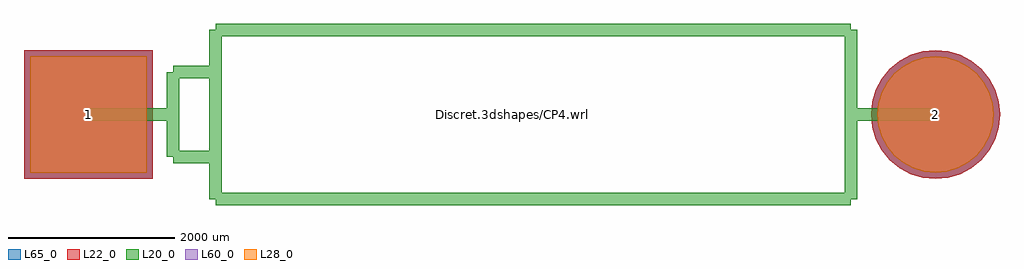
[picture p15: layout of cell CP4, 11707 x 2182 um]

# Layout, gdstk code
import gdstk
lib = gdstk.Library(unit=1e-6, precision=1e-09)
def R(c, l, rs):  # rectangles x0, y0, x1, y1
    for r in rs: c.add(gdstk.rectangle(r[:2], r[2:], *l))
def P(c, l, *ps):  # polygons
    for p in ps: c.add(gdstk.Polygon(p, *l))
L20_0 = (20, 0)
L22_0 = (22, 0)
L28_0 = (28, 0)
L60_0 = (60, 0)
L65_0 = (65, 0)

cp4 = lib.new_cell('CP4')
R(cp4, L22_0, [(-5853.5,-773.5,-4306.5,773.5)])
P(cp4, L22_0, [(5853.5,0),(5838.637,150.902),(5794.621,296.006),(5723.142,429.734),(5626.947,546.947),(5509.734,643.142),(5376.006,714.621),(5230.902,758.637),(5080,773.5),(4929.098,758.637),(4783.994,714.621),(4650.266,643.142),(4533.053,546.947),(4436.858,429.734),(4365.379,296.006),(4321.363,150.902),(4306.5,0),(4321.363,-150.902),(4365.379,-296.006),(4436.858,-429.734),(4533.053,-546.947),(4650.266,-643.142),(4783.994,-714.621),(4929.098,-758.637),(5080,-773.5),(5230.902,-758.637),(5376.006,-714.621),(5509.734,-643.142),(5626.947,-546.947),(5723.142,-429.734),(5794.621,-296.006),(5838.637,-150.902)])
R(cp4, L28_0, [(-5778.5,-698.5,-4381.5,698.5)])
P(cp4, L28_0, [(5778.5,0),(5765.079,136.271),(5725.33,267.304),(5660.782,388.066),(5573.914,493.914),(5468.066,580.782),(5347.304,645.33),(5216.271,685.079),(5080,698.5),(4943.729,685.079),(4812.696,645.33),(4691.934,580.782),(4586.086,493.914),(4499.218,388.066),(4434.67,267.304),(4394.921,136.271),(4381.5,0),(4394.921,-136.271),(4434.67,-267.304),(4499.218,-388.066),(4586.086,-493.914),(4691.934,-580.782),(4812.696,-645.33),(4943.729,-685.079),(5080,-698.5),(5216.271,-685.079),(5347.304,-645.33),(5468.066,-580.782),(5573.914,-493.914),(5660.782,-388.066),(5725.33,-267.304),(5765.079,-136.271)])
R(cp4, L60_0, [(-5778.5,-698.5,-4381.5,698.5)])
P(cp4, L60_0, [(5778.5,0),(5765.079,136.271),(5725.33,267.304),(5660.782,388.066),(5573.914,493.914),(5468.066,580.782),(5347.304,645.33),(5216.271,685.079),(5080,698.5),(4943.729,685.079),(4812.696,645.33),(4691.934,580.782),(4586.086,493.914),(4499.218,388.066),(4434.67,267.304),(4394.921,136.271),(4381.5,0),(4394.921,-136.271),(4434.67,-267.304),(4499.218,-388.066),(4586.086,-493.914),(4691.934,-580.782),(4812.696,-645.33),(4943.729,-685.079),(5080,-698.5),(5216.271,-685.079),(5347.304,-645.33),(5468.066,-580.782),(5573.914,-493.914),(5660.782,-388.066),(5725.33,-267.304),(5765.079,-136.271)])
R(cp4, L65_0, [(-5853.5,-773.5,-4306.5,773.5)])
P(cp4, L65_0, [(5853.5,0),(5838.637,150.902),(5794.621,296.006),(5723.142,429.734),(5626.947,546.947),(5509.734,643.142),(5376.006,714.621),(5230.902,758.637),(5080,773.5),(4929.098,758.637),(4783.994,714.621),(4650.266,643.142),(4533.053,546.947),(4436.858,429.734),(4365.379,296.006),(4321.363,150.902),(4306.5,0),(4321.363,-150.902),(4365.379,-296.006),(4436.858,-429.734),(4533.053,-546.947),(4650.266,-643.142),(4783.994,-714.621),(4929.098,-758.637),(5080,-773.5),(5230.902,-758.637),(5376.006,-714.621),(5509.734,-643.142),(5626.947,-546.947),(5723.142,-429.734),(5794.621,-296.006),(5838.637,-150.902)])
cp4.add(gdstk.FlexPath([(-4064,508),(-3556,508)], 149.998, ends="flush", simple_path=True, layer=20, datatype=0))  # L20_0
cp4.add(gdstk.FlexPath([(-4064,-508),(-4064,508)], 149.998, ends="flush", simple_path=True, layer=20, datatype=0))  # L20_0
cp4.add(gdstk.FlexPath([(-3556,-508),(-4064,-508)], 149.998, ends="flush", simple_path=True, layer=20, datatype=0))  # L20_0
cp4.add(gdstk.FlexPath([(-5080,0),(-4064,0)], 149.998, ends="flush", simple_path=True, layer=20, datatype=0))  # L20_0
cp4.add(gdstk.FlexPath([(4064,1016),(4064,0)], 149.998, ends="flush", simple_path=True, layer=20, datatype=0))  # L20_0
cp4.add(gdstk.FlexPath([(-3556,1016),(4064,1016)], 149.998, ends="flush", simple_path=True, layer=20, datatype=0))  # L20_0
cp4.add(gdstk.FlexPath([(-3556,-1016),(-3556,1016)], 149.998, ends="flush", simple_path=True, layer=20, datatype=0))  # L20_0
cp4.add(gdstk.FlexPath([(4064,-1016),(-3556,-1016)], 149.998, ends="flush", simple_path=True, layer=20, datatype=0))  # L20_0
cp4.add(gdstk.FlexPath([(4064,0),(4064,-1016)], 149.998, ends="flush", simple_path=True, layer=20, datatype=0))  # L20_0
cp4.add(gdstk.FlexPath([(5080,0),(4064,0)], 149.998, ends="flush", simple_path=True, layer=20, datatype=0))  # L20_0
cp4.add(gdstk.Label('Discret.3dshapes/CP4.wrl', (0,0), layer=12, texttype=0))
cp4.add(gdstk.Label('2', (5080,0), layer=28, texttype=0))
cp4.add(gdstk.Label('1', (-5080,0), layer=28, texttype=0))
cp4.add(gdstk.Label('type', (508,0), layer=9, texttype=0))
cp4.add(gdstk.Label('devicename', (508,0), layer=9, texttype=0))

lib.write_gds('CP4.gds')
